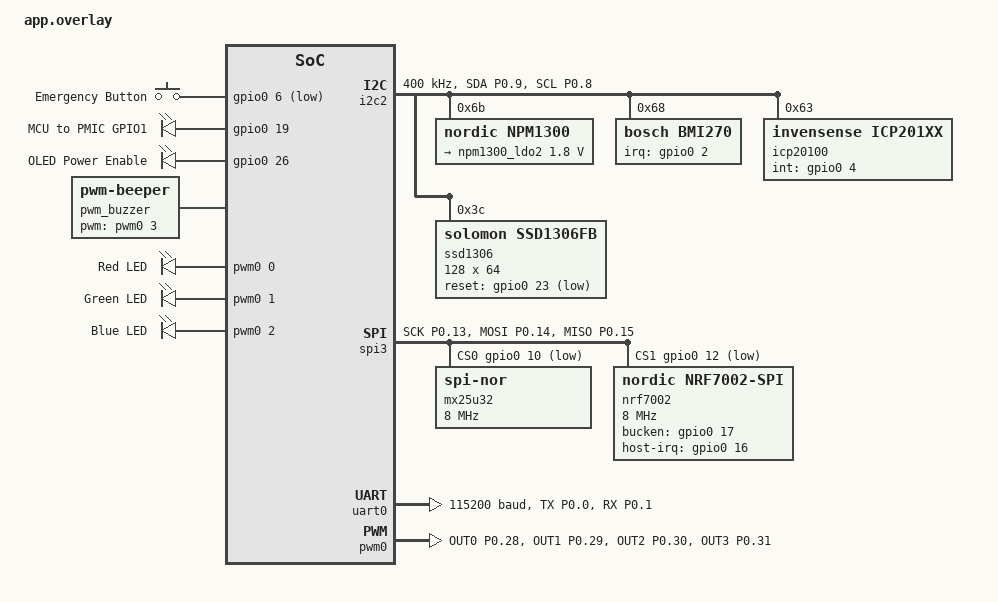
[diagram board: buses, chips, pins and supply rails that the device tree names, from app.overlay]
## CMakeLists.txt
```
# Require a minimum CMake version (Standard for NCS)
cmake_minimum_required(VERSION 3.20.0)

# Find the Zephyr package. This is the magic line that loads the whole RTOS.
find_package(Zephyr REQUIRED HINTS $ENV{ZEPHYR_BASE})

# Name your specific project
project(button_led_buzzer)

# Tell CMake where your C source code lives
target_sources(app PRIVATE src/main.c)
```

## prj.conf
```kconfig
# Console & Logging
CONFIG_SERIAL=y
CONFIG_CONSOLE=y
CONFIG_STDOUT_CONSOLE=y
CONFIG_PRINTK=y

# GPIO support for button input
CONFIG_GPIO=y
CONFIG_GPIO_INIT_PRIORITY=50

# PWM and LED support for buzzer + PWM-driven LED
CONFIG_PWM=y
CONFIG_LED=y
CONFIG_LED_PWM=y

CONFIG_I2C=y
CONFIG_MFD_NPM13XX=y
CONFIG_REGULATOR=y
CONFIG_REGULATOR_NPM13XX=y
```

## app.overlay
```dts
&pinctrl {
    /* --- UART0 --- */
    uart0_default: uart0_default {
        group1 {
            psels = <NRF_PSEL(UART_TX, 0, 0)>,
                    <NRF_PSEL(UART_RX, 0, 1)>;
        };
    };
    uart0_sleep: uart0_sleep {
        group1 {
            psels = <NRF_PSEL(UART_TX, 0, 0)>,
                    <NRF_PSEL(UART_RX, 0, 1)>;
            low-power-enable;
        };
    };

    i2c2_default: i2c2_default {
        group1 {
            psels = <NRF_PSEL(TWIM_SDA, 0, 9)>,
                    <NRF_PSEL(TWIM_SCL, 0, 8)>;
        };
    };
    i2c2_sleep: i2c2_sleep {
        group1 {
            psels = <NRF_PSEL(TWIM_SDA, 0, 9)>,
                    <NRF_PSEL(TWIM_SCL, 0, 8)>;
            low-power-enable;
        };
    };

    /* --- SPI3 --- */
    spi3_default: spi3_default {
        group1 {
            psels = <NRF_PSEL(SPIM_SCK, 0, 13)>,
                    <NRF_PSEL(SPIM_MOSI, 0, 14)>,
                    <NRF_PSEL(SPIM_MISO, 0, 15)>;
        };
    };
    spi3_sleep: spi3_sleep {
        group1 {
            psels = <NRF_PSEL(SPIM_SCK, 0, 13)>,
                    <NRF_PSEL(SPIM_MOSI, 0, 14)>,
                    <NRF_PSEL(SPIM_MISO, 0, 15)>;
            low-power-enable;
        };
    };

    /* --- PWM0 --- */
    pwm0_default: pwm0_default {
        group1 {
            /* RED=P0.28, GREEN=P0.29, BLUE=P0.30, BUZZER=P0.31 */
            psels = <NRF_PSEL(PWM_OUT0, 0, 28)>,
                    <NRF_PSEL(PWM_OUT1, 0, 29)>,
                    <NRF_PSEL(PWM_OUT2, 0, 30)>,
                    <NRF_PSEL(PWM_OUT3, 0, 31)>;
        };
    };
    pwm0_sleep: pwm0_sleep {
        group1 {
            psels = <NRF_PSEL(PWM_OUT0, 0, 28)>,
                    <NRF_PSEL(PWM_OUT1, 0, 29)>,
                    <NRF_PSEL(PWM_OUT2, 0, 30)>,
                    <NRF_PSEL(PWM_OUT3, 0, 31)>;
            low-power-enable;
        };
    };
};

&i2c2 {
    status = "okay";
    pinctrl-0 = <&i2c2_default>;
    pinctrl-1 = <&i2c2_sleep>;
    pinctrl-names = "default", "sleep";
    clock-frequency = <I2C_BITRATE_FAST>;

    /* Allocate RAM buffer for the BMI270 8KB config bursts */
    zephyr,concat-buf-size = <2048>;
    zephyr,flash-buf-max-size = <2048>;

    npm1300: pmic@6b {
        compatible = "nordic,npm1300";
        reg = <0x6b>;
        status = "okay"; /* Enable the PMIC parent */

        npm1300_regulators: regulators {
            compatible = "nordic,npm1300-regulator";
            status = "okay"; /* Enable the regulator subsystem */

            npm1300_ldo1: LDO1 {
                regulator-boot-on;
            };

            npm1300_ldo2: LDO2 {
                /* Set the voltage to 1.8V */
                regulator-min-microvolt = <1800000>;
                regulator-max-microvolt = <1800000>;
                regulator-init-microvolt = <1800000>;

                /* Force early power-on during boot */
                regulator-boot-on;
                regulator-always-on;
            };
        };

        npm1300_charger: charger {
            compatible = "nordic,npm1300-charger";
            status = "okay";
            /* Increase USB input current limit to 500mA to prevent boot brownouts */
            vbus-limit-microamp = <1000000>;
            term-microvolt = <4200000>;
            current-microamp = <400000>;
            dischg-limit-microamp = <1000000>;
            thermistor-ohms = <10000>;
            thermistor-beta = <3380>;
        };

    };


    /* Bosch BMI270 IMU */
    bmi270: bmi270@68 {
        compatible = "bosch,bmi270";
        reg = <0x68>;
        irq-gpios = <&gpio0 2 GPIO_ACTIVE_HIGH>;
    };

    /* TDK Barometer */
    icp20100: icp20100@63 {
        compatible = "invensense,icp201xx";
        reg = <0x63>;
        int-gpios = <&gpio0 4 GPIO_ACTIVE_HIGH>;
    };

    /* OLED Display */
    ssd1306: ssd1306@3c {
        compatible = "solomon,ssd1306fb";
        reg = <0x3c>;
        width = <128>;
        height = <64>;
        segment-offset = <0>;
        page-offset = <0>;
        display-offset = <0>;
        multiplex-ratio = <63>;
        prechargep = <0x22>;
        reset-gpios = <&gpio0 23 GPIO_ACTIVE_LOW>;
    };
};

&spi3 {
    status = "okay";
    pinctrl-0 = <&spi3_default>;
    pinctrl-1 = <&spi3_sleep>;
    pinctrl-names = "default", "sleep";

    cs-gpios = <&gpio0 10 GPIO_ACTIVE_LOW>,
               <&gpio0 12 GPIO_ACTIVE_LOW>;

    /* NOR Flash (32Mb) */
    mx25u32: flash@0 {
        compatible = "jedec,spi-nor";
        reg = <0>;
        spi-max-frequency = <8000000>;
        size = <33554432>;
        jedec-id = [c2 25 36];
    };

    /* Wi-Fi Companion (nRF7002) */
    nrf7002: wifi@1 {
        compatible = "nordic,nrf7002-spi";
        reg = <1>;
        bucken-gpios = <&gpio0 17 GPIO_ACTIVE_HIGH>;
        host-irq-gpios = <&gpio0 16 GPIO_ACTIVE_HIGH>;
        spi-max-frequency = <8000000>;

        /* TX Power Limits (Required for RF Regulatory Compliance) */
        wifi-max-tx-pwr-2g-dsss = <16>;
        wifi-max-tx-pwr-2g-mcs0 = <16>;
        wifi-max-tx-pwr-2g-mcs7 = <15>;
        wifi-max-tx-pwr-5g-low-mcs0 = <14>;
        wifi-max-tx-pwr-5g-low-mcs7 = <13>;
        wifi-max-tx-pwr-5g-mid-mcs0 = <14>;
        wifi-max-tx-pwr-5g-mid-mcs7 = <13>;
        wifi-max-tx-pwr-5g-high-mcs0 = <14>;
        wifi-max-tx-pwr-5g-high-mcs7 = <13>;
    };
};

/ {
    aliases {
        sw0 = &button_em;
        buzzer = &pwm_buzzer;
        led0 = &led_red;
        led1 = &led_green;
        led2 = &led_blue;
        pmic-gpio1 = &mcu_to_pmic_gpio1;
    };

    buttons {
        compatible = "gpio-keys";
        button_em: button_0 {
            gpios = <&gpio0 6 (GPIO_PULL_UP | GPIO_ACTIVE_LOW)>;
            label = "Emergency Button";
        };
    };

    /* Custom Routing */
    custom_gpios {
        compatible = "gpio-leds";

        /* MCU P0.19 wired to PMIC GPIO1 */
        mcu_to_pmic_gpio1: mcu_to_pmic_gpio1 {
            gpios = <&gpio0 19 GPIO_ACTIVE_HIGH>;
            label = "MCU to PMIC GPIO1";
        };
    };

    /* Display Power Control Pin */
    display_ctrl {
        compatible = "gpio-leds";
        disp_power_en: disp_power_en {
            gpios = <&gpio0 26 GPIO_ACTIVE_HIGH>;
            label = "OLED Power Enable";
        };
    };

    /* Buzzer PWM routing */
    pwm_buzzer: pwm_buzzer {
        compatible = "pwm-beeper";
        pwms = <&pwm0 3 PWM_HZ(4000) PWM_POLARITY_NORMAL>;
    };

    pwmleds {
        compatible = "pwm-leds";
        led_red: led_pwm_0 {
            pwms = <&pwm0 0 PWM_MSEC(20) PWM_POLARITY_NORMAL>;
            label = "Red LED";
        };
        led_green: led_pwm_1 {
            pwms = <&pwm0 1 PWM_MSEC(20) PWM_POLARITY_NORMAL>;
            label = "Green LED";
        };
        led_blue: led_pwm_2 {
            pwms = <&pwm0 2 PWM_MSEC(20) PWM_POLARITY_NORMAL>;
            label = "Blue LED";
        };
    };
};

/* Enable UART0 */
&uart0 {
    status = "okay";
    pinctrl-0 = <&uart0_default>;
    pinctrl-1 = <&uart0_sleep>;
    pinctrl-names = "default", "sleep";
    current-speed = <115200>;
};

/* Enable PWM0 */
&pwm0 {
    status = "okay";
    pinctrl-0 = <&pwm0_default>;
    pinctrl-1 = <&pwm0_sleep>;
    pinctrl-names = "default", "sleep";
};
```

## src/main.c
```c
/*
 * BUZZER, LED and BUTTON TESTING CODE:
 *
 * Desired behavior:
 *   - Short press (release before 1.5s) -> cycle LED color, beep buzzer
 *   - Long press (held for 1.5s, LED turns off immediately, DURING the hold)
 */

#include <zephyr/kernel.h>
#include <zephyr/device.h>
#include <zephyr/drivers/gpio.h>
#include <zephyr/drivers/pwm.h>
#include <zephyr/drivers/regulator.h>
#include <zephyr/logging/log.h>

LOG_MODULE_REGISTER(button_led_test, LOG_LEVEL_INF);

#define BUTTON_NODE   DT_ALIAS(sw0)
#define PWM_CTLR_NODE DT_NODELABEL(pwm0)
#define LDO1_NODE     DT_NODELABEL(npm1300_ldo1)

static const struct gpio_dt_spec button = GPIO_DT_SPEC_GET(BUTTON_NODE, gpios);
static const struct device *const pwm_dev = DEVICE_DT_GET(PWM_CTLR_NODE);
static const struct device *const ldo1_dev = DEVICE_DT_GET(LDO1_NODE);

#define PWM_CH_RED    0U
#define PWM_CH_GREEN  1U
#define PWM_CH_BLUE   2U
#define PWM_CH_BUZZER  3U         
#define PWM_UNIFIED_PERIOD PWM_HZ(4000)
#define PWM_LED_PULSE (PWM_UNIFIED_PERIOD / 2U)
#define PWM_BUZZ_PULSE (PWM_UNIFIED_PERIOD / 2U)  

#define LONG_PRESS_MS 1500
#define DEBOUNCE_MS   40
#define BEEP_MS 250 

static struct gpio_callback button_cb_data;
static struct k_work_delayable button_debounce_work;
static bool button_was_pressed;
static bool long_press_fired;   /* prevents double action on release */

enum led_color { LED_OFF, LED_RED, LED_GREEN, LED_BLUE, LED_COLOR_COUNT };
static enum led_color current_color = LED_OFF;

static void short_beep(void)
{
    pwm_set(pwm_dev, PWM_CH_BUZZER, PWM_UNIFIED_PERIOD, PWM_BUZZ_PULSE, PWM_POLARITY_NORMAL);
    k_sleep(K_MSEC(BEEP_MS));
    pwm_set(pwm_dev, PWM_CH_BUZZER, PWM_UNIFIED_PERIOD, 0U, PWM_POLARITY_NORMAL);
}

static void set_led(enum led_color color)
{
    pwm_set(pwm_dev, PWM_CH_RED,   PWM_UNIFIED_PERIOD, 0U, PWM_POLARITY_NORMAL);
    pwm_set(pwm_dev, PWM_CH_GREEN, PWM_UNIFIED_PERIOD, 0U, PWM_POLARITY_NORMAL);
    pwm_set(pwm_dev, PWM_CH_BLUE,  PWM_UNIFIED_PERIOD, 0U, PWM_POLARITY_NORMAL);

    switch (color) {
    case LED_RED:
        pwm_set(pwm_dev, PWM_CH_RED, PWM_UNIFIED_PERIOD, PWM_LED_PULSE, PWM_POLARITY_NORMAL);
        break;
    case LED_GREEN:
        pwm_set(pwm_dev, PWM_CH_GREEN, PWM_UNIFIED_PERIOD, PWM_LED_PULSE, PWM_POLARITY_NORMAL);
        break;
    case LED_BLUE:
        pwm_set(pwm_dev, PWM_CH_BLUE, PWM_UNIFIED_PERIOD, PWM_LED_PULSE, PWM_POLARITY_NORMAL);
        break;
    case LED_OFF:
    default:
        break;
    }

    current_color = color;
    LOG_INF("[LED] color -> %d", (int)color);

    if (color = LED_OFF) {
        short_beep();
    }
}

/* Fires exactly once, LONG_PRESS_MS after a confirmed press begins,
 * as long as the button is still held down at that moment. */
static void long_press_timer_fn(struct k_timer *timer_id)
{
    if (button_was_pressed) {
        LOG_INF("[BUTTON] Long-press threshold reached WHILE HELD -> LED OFF");
        set_led(LED_OFF);
        long_press_fired = true;
    }
}
K_TIMER_DEFINE(long_press_timer, long_press_timer_fn, NULL);

static void button_debounce_fn(struct k_work *work)
{
    bool pressed_now = gpio_pin_get_dt(&button) > 0;

    if (pressed_now == button_was_pressed) {
        gpio_pin_interrupt_configure_dt(&button, GPIO_INT_EDGE_BOTH);
        return;
    }

    if (pressed_now) {
        /* Confirmed press start: arm the long-press timer */
        button_was_pressed = true;
        long_press_fired = false;
        k_timer_start(&long_press_timer, K_MSEC(LONG_PRESS_MS), K_NO_WAIT);
    } else {
        /* Confirmed release */
        k_timer_stop(&long_press_timer);

        if (!long_press_fired) {
            /* Released before the long-press threshold -> short press */
            enum led_color next = (current_color + 1) % LED_COLOR_COUNT;
            if (next == LED_OFF) {
                next = LED_RED;
            }
            LOG_INF("[BUTTON] Short press -> next color");
            set_led(next);
        }
        /* If long_press_fired is true, LED was already turned off during
         * the hold -- do nothing else on release. */

        button_was_pressed = false;
    }

    gpio_pin_interrupt_configure_dt(&button, GPIO_INT_EDGE_BOTH);
}

static void button_pressed_isr(const struct device *dev,
                                struct gpio_callback *cb, uint32_t pins)
{
    gpio_pin_interrupt_configure_dt(&button, GPIO_INT_DISABLE);
    k_work_reschedule(&button_debounce_work, K_MSEC(DEBOUNCE_MS));
}

int main(void)
{
    LOG_INF("=== BUTTON/LED TEST HARNESS ===");

    if (!device_is_ready(ldo1_dev)) {
        LOG_ERR("LDO1 not ready!");
        return -1;
    }
    regulator_enable(ldo1_dev);
    k_msleep(5);

    if (!device_is_ready(pwm_dev)) {
        LOG_ERR("PWM device not ready!");
        return -1;
    }

    if (!gpio_is_ready_dt(&button)) {
        LOG_ERR("Button GPIO not ready!");
        return -1;
    }

    k_work_init_delayable(&button_debounce_work, button_debounce_fn);

    gpio_pin_configure_dt(&button, GPIO_INPUT | GPIO_PULL_UP);
    gpio_pin_interrupt_configure_dt(&button, GPIO_INT_EDGE_BOTH);
    gpio_init_callback(&button_cb_data, button_pressed_isr, BIT(button.pin));
    gpio_add_callback(button.port, &button_cb_data);

    LOG_INF("Ready. Short press = cycle color, long press = OFF (fires while held).");

    set_led(LED_OFF);

    while (1) {
        k_sleep(K_SECONDS(10));
    }

    return 0;
}
```
